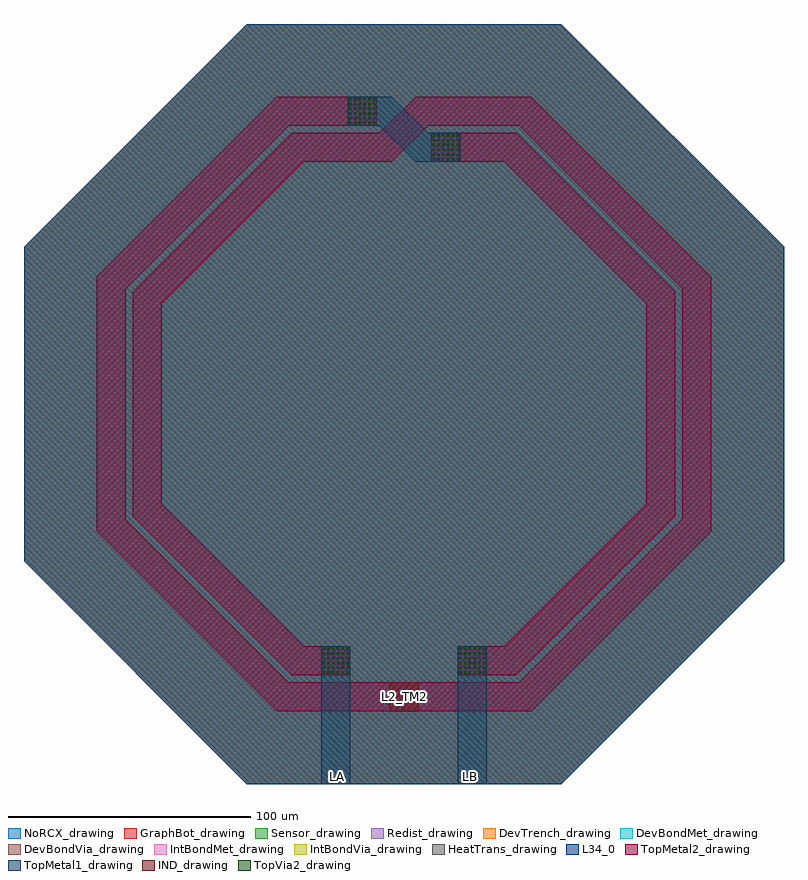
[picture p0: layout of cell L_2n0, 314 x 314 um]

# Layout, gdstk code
import gdstk
lib = gdstk.Library(unit=1e-6, precision=5e-09)
def R(c, l, rs):  # rectangles x0, y0, x1, y1
    for r in rs: c.add(gdstk.rectangle(r[:2], r[2:], *l))
def A(c, l, x, y, w, h, nx, ny, dx, dy):  # array of equal rectangles
    R(c, l, [(x+i*dx, y+j*dy, x+i*dx+w, y+j*dy+h) for i in range(nx) for j in range(ny)])
def P(c, l, *ps):  # polygons
    for p in ps: c.add(gdstk.Polygon(p, *l))
IND_drawing = (27, 0)
L34_0 = (34, 0)
HeatTrans_drawing = (51, 0)
IntBondVia_drawing = (72, 0)
IntBondMet_drawing = (73, 0)
DevBondVia_drawing = (74, 0)
DevBondMet_drawing = (75, 0)
DevTrench_drawing = (76, 0)
Redist_drawing = (77, 0)
GraphBot_drawing = (78, 0)
TopMetal1_drawing = (126, 0)
TopVia2_drawing = (133, 0)
TopMetal2_drawing = (134, 0)
Sensor_drawing = (136, 0)
NoRCX_drawing = (148, 0)

l_2n0 = lib.new_cell('L_2n0')
R(l_2n0, IND_drawing, [(-79,-20,-67,-8)])
P(l_2n0, L34_0, [(-230,41.97),(-138.03,-50),(-7.97,-50),(84,41.97),(84,172.03),(-7.97,264),(-138.03,264),(-230,172.03)])
P(l_2n0, HeatTrans_drawing, [(-230,41.97),(-138.03,-50),(-7.97,-50),(84,41.97),(84,172.03),(-7.97,264),(-138.03,264),(-230,172.03)])
P(l_2n0, IntBondVia_drawing, [(-230,41.97),(-138.03,-50),(-7.97,-50),(84,41.97),(84,172.03),(-7.97,264),(-138.03,264),(-230,172.03)])
P(l_2n0, IntBondMet_drawing, [(-230,41.97),(-138.03,-50),(-7.97,-50),(84,41.97),(84,172.03),(-7.97,264),(-138.03,264),(-230,172.03)])
P(l_2n0, DevBondVia_drawing, [(-230,41.97),(-138.03,-50),(-7.97,-50),(84,41.97),(84,172.03),(-7.97,264),(-138.03,264),(-230,172.03)])
P(l_2n0, DevBondMet_drawing, [(-230,41.97),(-138.03,-50),(-7.97,-50),(84,41.97),(84,172.03),(-7.97,264),(-138.03,264),(-230,172.03)])
P(l_2n0, DevTrench_drawing, [(-230,41.97),(-138.03,-50),(-7.97,-50),(84,41.97),(84,172.03),(-7.97,264),(-138.03,264),(-230,172.03)])
P(l_2n0, Redist_drawing, [(-230,41.97),(-138.03,-50),(-7.97,-50),(84,41.97),(84,172.03),(-7.97,264),(-138.03,264),(-230,172.03)])
P(l_2n0, GraphBot_drawing, [(-230,41.97),(-138.03,-50),(-7.97,-50),(84,41.97),(84,172.03),(-7.97,264),(-138.03,264),(-230,172.03)])
R(l_2n0, TopMetal1_drawing, [(-107.2,-50,-95.2,7), (-50.8,-50,-38.8,7)])
P(l_2n0, TopMetal1_drawing, [(-96.23,222),(-82.985,222),(-67.985,207),(-49.77,207),(-49.77,219),(-63.015,219),(-78.015,234),(-96.23,234)])
A(l_2n0, TopVia2_drawing, -106.58, -4.38, 0.9, 0.9, 6, 6, 1.97, 1.97)
A(l_2n0, TopVia2_drawing, -50.18, -4.38, 0.9, 0.9, 6, 6, 1.97, 1.97)
A(l_2n0, TopVia2_drawing, -61.15, 207.62, 0.9, 0.9, 6, 6, 1.97, 1.97)
A(l_2n0, TopVia2_drawing, -95.61, 222.62, 0.9, 0.9, 6, 6, 1.97, 1.97)
P(l_2n0, TopMetal2_drawing, [(-61.77,207),(-31.575,207),(27,148.425),(27,65.575),(-31.575,7),(-50.8,7),(-50.8,-5),(-26.605,-5),(39,60.605),(39,153.395),(-26.605,219),(-61.77,219)],
  [(-173,65.575),(-173,148.425),(-114.425,207),(-78.015,207),(-63.015,222),(-25.365,222),(42,154.635),(42,59.365),(-25.365,-8),(-120.635,-8),(-188,59.365),(-188,154.635),(-120.635,222),(-84.23,222),(-84.23,234),(-125.605,234),(-200,159.605),(-200,54.395),(-125.605,-20),(-20.395,-20),(54,54.395),(54,159.605),(-20.395,234),(-67.985,234),(-82.985,219),(-119.395,219),(-185,153.395),(-185,60.605),(-119.395,-5),(-95.2,-5),(-95.2,7),(-114.425,7)])
P(l_2n0, Sensor_drawing, [(-230,41.97),(-138.03,-50),(-7.97,-50),(84,41.97),(84,172.03),(-7.97,264),(-138.03,264),(-230,172.03)])
P(l_2n0, NoRCX_drawing, [(-230,41.97),(-138.03,-50),(-7.97,-50),(84,41.97),(84,172.03),(-7.97,264),(-138.03,264),(-230,172.03)])
l_2n0.add(gdstk.Label('L2_TM2', (-73,-14), layer=63, texttype=0))
l_2n0.add(gdstk.Label('LB', (-45.5,-47), layer=63, texttype=0))
l_2n0.add(gdstk.Label('LA', (-100.5,-47), layer=63, texttype=0))

lib.write_gds('L_2n0.gds')
